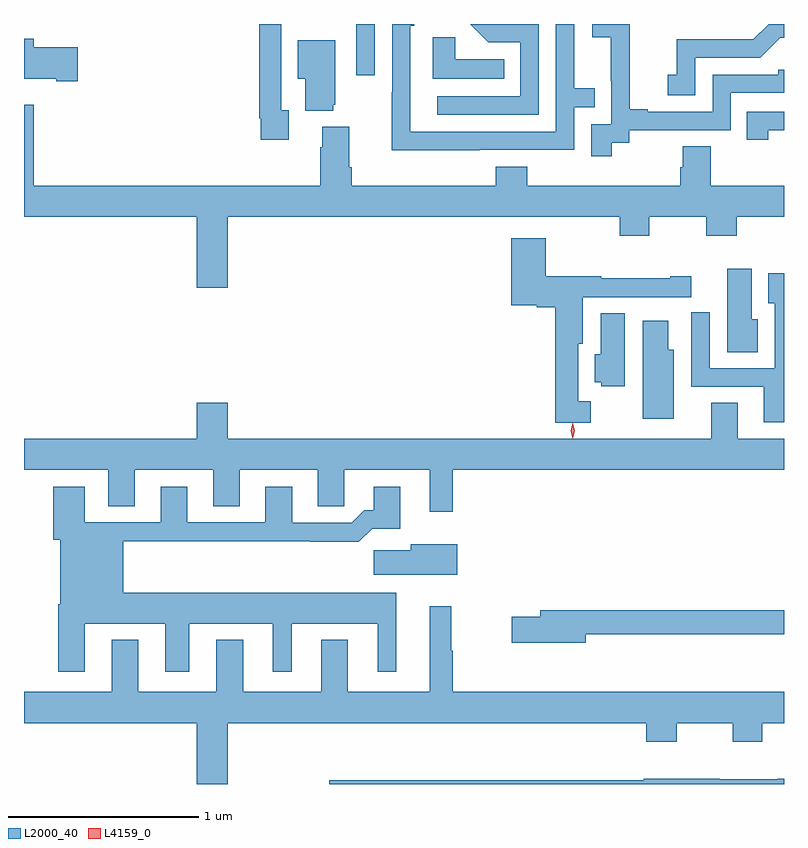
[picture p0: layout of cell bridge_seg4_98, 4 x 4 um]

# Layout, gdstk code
import gdstk
lib = gdstk.Library(unit=1e-6, precision=1e-09)
def R(c, l, rs):  # rectangles x0, y0, x1, y1
    for r in rs: c.add(gdstk.rectangle(r[:2], r[2:], *l))
def P(c, l, *ps):  # polygons
    for p in ps: c.add(gdstk.Polygon(p, *l))
L2000_40 = (2000, 40)
L4159_0 = (4159, 0)

bridge_seg4_98 = lib.new_cell('bridge_seg4_98')
R(bridge_seg4_98, L2000_40, [(489.525,770.925,489.621,771.195)])
P(bridge_seg4_98, L2000_40, [(490.175,770.532),(490.671,770.532),(490.671,770.757),(490.781,770.757),(490.781,770.858),(490.671,770.858),(490.671,771.195),(490.575,771.195),(490.575,770.628),(489.81,770.628),(489.81,771.186),(489.829,771.186),(489.829,771.195),(489.714,771.195),(489.714,770.837),(489.712,770.837),(489.712,770.531),(490.175,770.531)],
  [(490.485,771.195),(490.124,771.195),(490.22,771.099),(490.389,771.099),(490.389,770.814),(489.951,770.814),(489.951,770.718),(490.485,770.718)],
  [(489.169,770.742),(489.129,770.742),(489.129,771.195),(489.013,771.195),(489.013,770.698),(489.021,770.698),(489.021,770.586),(489.169,770.586)],
  [(490.87,770.569),(490.962,770.569),(490.962,770.637),(491.496,770.637),(491.496,770.832),(491.776,770.832),(491.776,770.955),(491.745,770.955),(491.745,770.928),(491.4,770.928),(491.4,770.733),(491.059,770.733),(491.059,770.746),(490.964,770.746),(490.964,771.029),(490.965,771.029),(490.965,771.195),(490.767,771.195),(490.767,771.125),(490.865,771.125),(490.865,770.897),(490.866,770.897),(490.866,770.667),(490.761,770.667),(490.761,770.499),(490.87,770.499)],
  [(491.31,771.018),(491.652,771.018),(491.756,771.122),(491.776,771.122),(491.776,771.195),(491.696,771.195),(491.615,771.114),(491.212,771.114),(491.212,770.929),(491.163,770.929),(491.163,770.82),(491.31,770.82)],
  [(490.304,771.01),(490.047,771.01),(490.047,771.125),(489.926,771.125),(489.926,770.906),(490.304,770.906)],
  [(488.059,771.072),(487.828,771.072),(487.828,771.118),(487.776,771.118),(487.776,770.906),(487.946,770.906),(487.946,770.894),(488.059,770.894)],
  [(489.404,770.769),(489.415,770.769),(489.415,771.109),(489.218,771.109),(489.218,770.906),(489.257,770.906),(489.257,770.738),(489.404,770.738)],
  [(490.424,770.443),(490.259,770.443),(490.259,770.344),(489.5,770.344),(489.5,770.44),(489.487,770.44),(489.487,770.653),(489.347,770.653),(489.347,770.546),(489.335,770.546),(489.335,770.344),(487.826,770.344),(487.826,770.77),(487.776,770.77),(487.776,770.18),(488.684,770.18),(488.684,769.806),(488.848,769.806),(488.848,770.18),(490.912,770.18),(490.912,770.081),(491.067,770.081),(491.067,770.18),(491.368,770.18),(491.368,770.081),(491.528,770.081),(491.528,770.18),(491.776,770.18),(491.776,770.344),(491.391,770.344),(491.391,770.552),(491.243,770.552),(491.243,770.442),(491.231,770.442),(491.231,770.344),(490.424,770.344)],
  [(491.692,770.637),(491.776,770.637),(491.776,770.733),(491.581,770.733),(491.581,770.586),(491.692,770.586)],
  [(490.759,769.21),(490.693,769.21),(490.693,769.512),(490.717,769.512),(490.717,769.758),(491.289,769.758),(491.289,769.867),(491.177,769.867),(491.177,769.857),(490.813,769.857),(490.813,769.867),(490.523,769.867),(490.523,770.068),(490.34,770.068),(490.34,769.715),(490.475,769.715),(490.475,769.703),(490.572,769.703),(490.572,769.097),(490.759,769.097)],
  [(491.638,769.642),(491.605,769.642),(491.605,769.906),(491.477,769.906),(491.477,769.468),(491.638,769.468)],
  [(491.776,769.882),(491.693,769.882),(491.693,769.726),(491.727,769.726),(491.727,769.383),(491.385,769.383),(491.385,769.677),(491.289,769.677),(491.289,769.287),(491.669,769.287),(491.669,769.098),(491.776,769.098)],
  [(490.939,769.673),(490.811,769.673),(490.811,769.458),(490.781,769.458),(490.781,769.31),(490.815,769.31),(490.815,769.289),(490.939,769.289)],
  [(491.197,769.48),(491.167,769.48),(491.167,769.633),(491.033,769.633),(491.033,769.118),(491.197,769.118)],
  [(490.033,768.848),(491.776,768.848),(491.776,769.012),(491.533,769.012),(491.533,769.202),(491.393,769.202),(491.393,769.012),(488.848,769.012),(488.848,769.201),(488.684,769.201),(488.684,769.012),(487.776,769.012),(487.776,768.848),(488.219,768.848),(488.219,768.658),(488.359,768.658),(488.359,768.848),(488.771,768.848),(488.771,768.658),(488.911,768.658),(488.911,768.848),(489.323,768.848),(489.323,768.658),(489.462,768.658),(489.462,768.848),(489.911,768.848),(489.911,768.627),(490.033,768.627)],
  [(488.095,768.038),(488.519,768.038),(488.519,767.787),(488.647,767.787),(488.647,768.038),(489.086,768.038),(489.086,767.787),(489.184,767.787),(489.184,768.038),(489.638,768.038),(489.638,767.787),(489.736,767.787),(489.736,768.202),(488.299,768.202),(488.299,768.472),(489.283,768.472),(489.283,768.47),(489.539,768.47),(489.608,768.539),(489.757,768.539),(489.757,768.76),(489.617,768.76),(489.617,768.637),(489.568,768.637),(489.501,768.57),(489.187,768.57),(489.187,768.76),(489.047,768.76),(489.047,768.573),(488.635,768.573),(488.635,768.76),(488.495,768.76),(488.495,768.573),(488.095,768.573),(488.095,768.76),(487.931,768.76),(487.931,768.48),(487.967,768.48),(487.967,768.142),(487.955,768.142),(487.955,767.787),(488.095,767.787)],
  [(490.057,768.457),(489.812,768.457),(489.812,768.425),(489.618,768.425),(489.618,768.296),(490.057,768.296)],
  [(490.732,767.982),(491.776,767.982),(491.776,768.11),(490.493,768.11),(490.493,768.074),(490.344,768.074),(490.344,767.939),(490.732,767.939)],
  [(490.033,767.897),(490.025,767.897),(490.025,768.13),(489.911,768.13),(489.911,767.68),(489.481,767.68),(489.481,767.953),(489.341,767.953),(489.341,767.68),(488.929,767.68),(488.929,767.953),(488.789,767.953),(488.789,767.68),(488.377,767.68),(488.377,767.953),(488.237,767.953),(488.237,767.68),(487.776,767.68),(487.776,767.516),(488.684,767.516),(488.684,767.195),(488.848,767.195),(488.848,767.516),(491.051,767.516),(491.051,767.417),(491.211,767.417),(491.211,767.516),(491.506,767.516),(491.506,767.417),(491.661,767.417),(491.661,767.516),(491.776,767.516),(491.776,767.68),(490.033,767.68)],
  [(491.776,767.222),(491.743,767.222),(491.743,767.219),(491.437,767.219),(491.437,767.222),(491.037,767.222),(491.037,767.215),(489.383,767.215),(489.383,767.195),(491.776,767.195)])
P(bridge_seg4_98, L4159_0, [(490.664,769.015),(490.664,769.015),(490.654,769.055),(490.664,769.096),(490.664,769.096),(490.664,769.096),(490.674,769.055),(490.664,769.015)])

lib.write_gds('bridge_seg4_98.gds')
